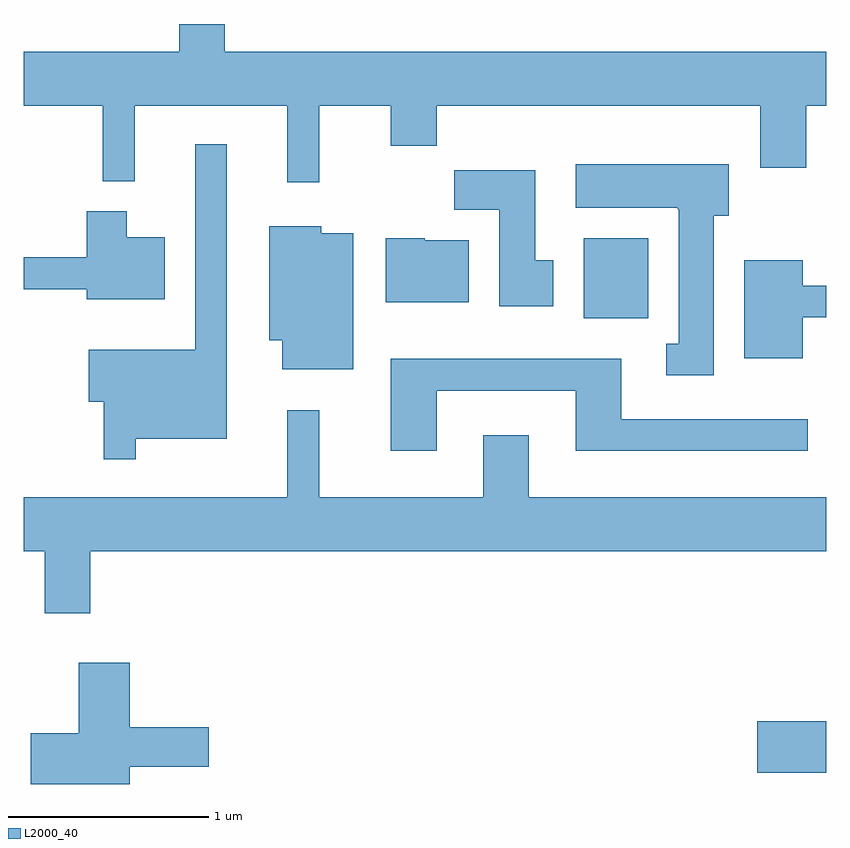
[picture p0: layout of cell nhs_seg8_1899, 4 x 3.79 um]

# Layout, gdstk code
import gdstk
lib = gdstk.Library(unit=1e-6, precision=1e-09)
def R(c, l, rs):  # rectangles x0, y0, x1, y1
    for r in rs: c.add(gdstk.rectangle(r[:2], r[2:], *l))
def P(c, l, *ps):  # polygons
    for p in ps: c.add(gdstk.Polygon(p, *l))
L2000_40 = (2000, 40)

nhs_seg8_1899 = lib.new_cell('nhs_seg8_1899')
R(nhs_seg8_1899, L2000_40, [(245.266,1868.611,245.611,1868.869), (244.401,1870.876,244.724,1871.274)])
P(nhs_seg8_1899, L2000_40, [(243.084,1871.936),(243.441,1871.936),(243.441,1871.736),(243.669,1871.736),(243.669,1871.936),(245.281,1871.936),(245.281,1871.626),(245.509,1871.626),(245.509,1871.936),(245.611,1871.936),(245.611,1872.204),(242.614,1872.204),(242.614,1872.342),(242.386,1872.342),(242.386,1872.204),(241.611,1872.204),(241.611,1871.936),(242.006,1871.936),(242.006,1871.558),(242.164,1871.558),(242.164,1871.936),(242.926,1871.936),(242.926,1871.553),(243.084,1871.553)],
  [(242.169,1870.276),(242.624,1870.276),(242.624,1871.743),(242.466,1871.743),(242.466,1870.719),(241.936,1870.719),(241.936,1870.461),(242.011,1870.461),(242.011,1870.173),(242.169,1870.173)],
  [(245.049,1871.386),(245.124,1871.386),(245.124,1871.644),(244.361,1871.644),(244.361,1871.426),(244.87,1871.426),(244.87,1871.42),(244.876,1871.42),(244.876,1870.749),(244.813,1870.749),(244.813,1870.591),(245.049,1870.591)],
  [(244.249,1871.164),(244.159,1871.164),(244.159,1871.614),(243.756,1871.614),(243.756,1871.416),(243.981,1871.416),(243.981,1870.936),(244.249,1870.936)],
  [(242.314,1871.279),(242.124,1871.279),(242.124,1871.409),(241.926,1871.409),(241.926,1871.179),(241.611,1871.179),(241.611,1871.021),(241.926,1871.021),(241.926,1870.971),(242.314,1870.971)],
  [(243.254,1871.299),(243.094,1871.299),(243.094,1871.334),(242.836,1871.334),(242.836,1870.766),(242.901,1870.766),(242.901,1870.621),(243.254,1870.621)],
  [(243.829,1871.264),(243.61,1871.264),(243.61,1871.274),(243.416,1871.274),(243.416,1870.956),(243.829,1870.956)],
  [(245.494,1870.881),(245.611,1870.881),(245.611,1871.039),(245.494,1871.039),(245.494,1871.164),(245.201,1871.164),(245.201,1870.676),(245.494,1870.676)],
  [(243.669,1870.516),(244.361,1870.516),(244.361,1870.216),(245.518,1870.216),(245.518,1870.374),(244.589,1870.374),(244.589,1870.674),(243.441,1870.674),(243.441,1870.216),(243.669,1870.216)],
  [(241.944,1869.716),(245.611,1869.716),(245.611,1869.984),(244.129,1869.984),(244.129,1870.294),(243.901,1870.294),(243.901,1869.984),(243.084,1869.984),(243.084,1870.418),(242.926,1870.418),(242.926,1869.984),(241.611,1869.984),(241.611,1869.716),(241.716,1869.716),(241.716,1869.406),(241.944,1869.406)],
  [(242.139,1868.641),(242.534,1868.641),(242.534,1868.839),(242.139,1868.839),(242.139,1869.159),(241.886,1869.159),(241.886,1868.809),(241.646,1868.809),(241.646,1868.556),(242.139,1868.556)])

lib.write_gds('nhs_seg8_1899.gds')
